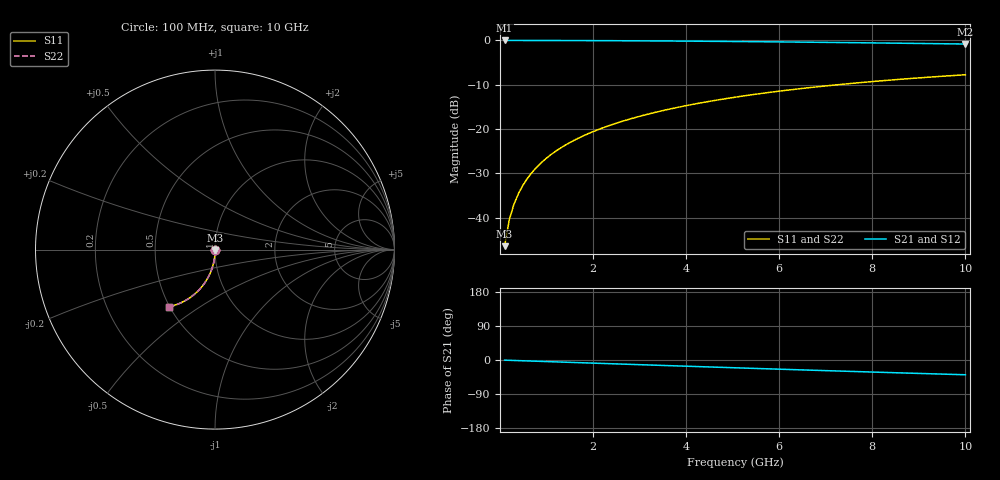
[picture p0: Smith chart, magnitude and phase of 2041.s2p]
# Hz S RI R 50.00
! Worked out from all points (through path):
!   100 points, 100 MHz to 10 GHz, reference 50 ohm
!   highest |S21| = -0.01 dB at 100 MHz (marker M1); lowest = -0.8 dB at 10 GHz (marker M2)
!   group delay of S21, straight-line fit = 10.9 ps
!   lowest |S11| = -46.5 dB at 100 MHz (marker M3), VSWR 1.01, Z = 50.1 - j0.471 ohm
!   |S11| at or under -10 dB: start of sweep to 7.261 GHz
!   |S22| runs from -46.5 to -7.8 dB; largest |S21 - S12| = 0
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1e8  0.000728 -0.0047  0.9992 -0.0072  0.9992 -0.0072  0.000728 -0.0047
2e8  0.000626 -0.0094  0.9991 -0.0144  0.9991 -0.0144  0.000626 -0.0094
3e8  0.000455 -0.0141  0.9989 -0.0216  0.9989 -0.0216  0.000455 -0.0141
4e8  0.000215 -0.0188  0.9986 -0.0288  0.9986 -0.0288  0.000215 -0.0188
5e8  -9.23e-05 -0.0235  0.9983 -0.036  0.9983 -0.036  -9.23e-05 -0.0235
6e8  -0.000467 -0.0282  0.9978 -0.0432  0.9978 -0.0432  -0.000467 -0.0282
7e8  -0.00091 -0.0328  0.9974 -0.0504  0.9974 -0.0504  -0.00091 -0.0328
8e8  -0.00142 -0.0375  0.9968 -0.0575  0.9968 -0.0575  -0.00142 -0.0375
9e8  -0.002 -0.0422  0.9962 -0.0647  0.9962 -0.0647  -0.002 -0.0422
1.1e9  -0.00335 -0.0515  0.9947 -0.079  0.9947 -0.079  -0.00335 -0.0515
1.4e9  -0.00588 -0.0653  0.9919 -0.1003  0.9919 -0.1003  -0.00588 -0.0653
1.8e9  -0.0102 -0.0835  0.9872 -0.1286  0.9872 -0.1286  -0.0102 -0.0835
2.1e9  -0.0141 -0.097  0.9829 -0.1496  0.9829 -0.1496  -0.0141 -0.097
2.5e9  -0.0201 -0.1146  0.9763 -0.1772  0.9763 -0.1772  -0.0201 -0.1146
2.9e9  -0.0271 -0.1317  0.9686 -0.2044  0.9686 -0.2044  -0.0271 -0.1317
3.4e9  -0.0372 -0.1525  0.9575 -0.2377  0.9575 -0.2377  -0.0372 -0.1525
4.2e9  -0.0561 -0.1838  0.9366 -0.2892  0.9366 -0.2892  -0.0561 -0.1838
5.1e9  -0.0811 -0.2158  0.909 -0.344  0.909 -0.344  -0.0811 -0.2158
5.9e9  -0.106 -0.2411  0.8812 -0.3896  0.8812 -0.3896  -0.106 -0.2411
6.7e9  -0.1331 -0.2632  0.8508 -0.432  0.8508 -0.432  -0.1331 -0.2632
8.4e9  -0.1955 -0.299  0.7799 -0.5113  0.7799 -0.5113  -0.1955 -0.299
1e10  -0.2572 -0.3188  0.7082 -0.5725  0.7082 -0.5725  -0.2572 -0.3188
